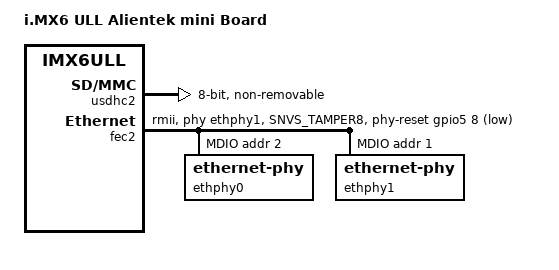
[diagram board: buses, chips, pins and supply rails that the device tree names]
/*
 * Copyright 2019 NXP
 *
 * This program is free software; you can redistribute it and/or
 * modify it under the terms of the GNU General Public License
 * as published by the Free Software Foundation; either version 2
 * of the License, or (at your option) any later version.
 */

#include "imx6ull-14x14-evk.dts"

/ {
	model = "i.MX6 ULL Alientek mini Board";
	compatible = "fsl,imx6ull-alientek-emmc", "fsl,imx6ull";
};

&usdhc2 {
	pinctrl-names = "default", "state_100mhz", "state_200mhz";
	pinctrl-0 = <&pinctrl_usdhc2_8bit>;
	pinctrl-1 = <&pinctrl_usdhc2_8bit_100mhz>;
	pinctrl-2 = <&pinctrl_usdhc2_8bit_200mhz>;
	bus-width = <8>;
	non-removable;
	status = "okay";
};

&can1 {
	/delete-property/ xceiver-supply;
};

&can2 {
	/delete-property/ xceiver-supply;
};

// Release 74hc595 power and gpio5.io[7], gpio5.io[8].
/ {
	aliases {
		/delete-property/ spi5;
	};

	/delete-node/ regulator-can-3v3;
	/delete-node/ spi4;
};

&iomuxc {
	/delete-node/ spi4grp;

	pinctrl_enet1_reset: enet1resetgrp {
		fsl,pins = <MX6UL_PAD_SNVS_TAMPER7__GPIO5_IO07 0x10b0>;
	};

	pinctrl_enet2_reset: enet2resetgrp {
		fsl,pins = <MX6UL_PAD_SNVS_TAMPER8__GPIO5_IO08 0x10b0>;
	};
};

&fec1 {
	pinctrl-names = "default";
	pinctrl-0 = <&pinctrl_enet1 &pinctrl_enet1_reset>;
	phy-mode = "rmii";
	phy-handle = <&ethphy0>;
	phy-reset-gpios = <&gpio5 7 GPIO_ACTIVE_LOW>;
	phy-reset-duration = <200>;
	status = "disabled";
};

&fec2 {
	pinctrl-names = "default";
	pinctrl-0 = <&pinctrl_enet2 &pinctrl_enet2_reset>;
	phy-mode = "rmii";
	phy-handle = <&ethphy1>;
	phy-reset-gpios = <&gpio5 8 GPIO_ACTIVE_LOW>;
	phy-reset-duration = <200>;
	phy-reset-post-delay = <100>;
	status = "okay";

	mdio {
		#address-cells = <1>;
		#size-cells = <0>;

		ethphy0: ethernet-phy@2 {
			reg = <2>;
			/delete-property/ micrel,led-mode;
			clocks = <&clks IMX6UL_CLK_ENET_REF>;
			clock-names = "rmii-ref";
		};

		ethphy1: ethernet-phy@1 {
			reg = <1>;
			/delete-property/ micrel,led-mode;
			clocks = <&clks IMX6UL_CLK_ENET2_REF>;
			clock-names = "rmii-ref";
		};
	};
};
